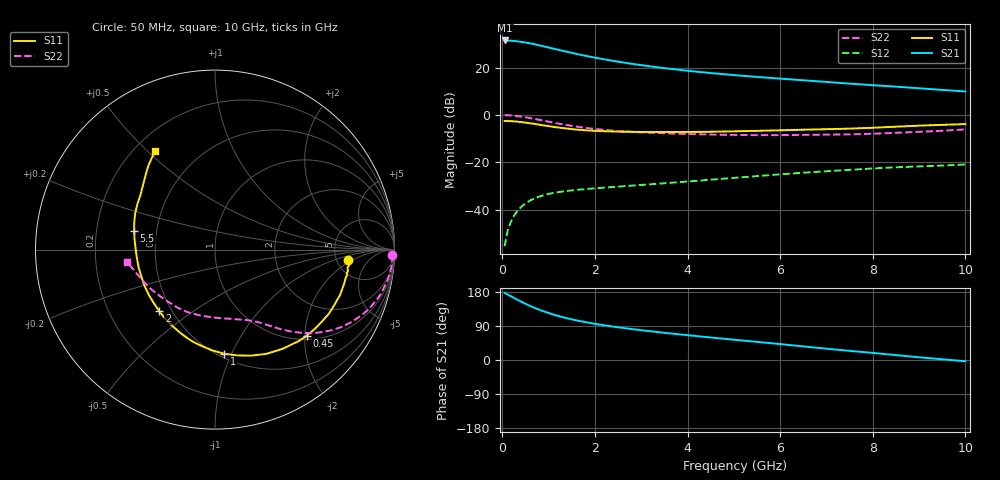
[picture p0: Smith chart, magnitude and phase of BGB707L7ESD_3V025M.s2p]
!  Infineon Technologies AG
!  BGB707L7ESD
!  Vce = 3.0V, Ic = 25.0mA
!  DATUM: 30.06.2009 10:18:42
# GHz  S  MA  R  50
!f  S11  S21  S12  S22
!GHz  Mag  Ang  Mag  Ang  Mag  Ang  Mag  Ang
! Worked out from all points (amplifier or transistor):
!   52 points, 50 MHz to 10 GHz, reference 50 ohm
!   highest |S21| = 31.5 dB at 60 MHz (marker M1)
!   |S21| within 3 dB of that: start of sweep to 1.004 GHz
!   unconditionally stable (mu >= 1): 3.97 GHz to 8.284 GHz
!   at 130 MHz: K = 0.07, MSG = 39.7 dB, |S12| = -48.0 dB
!   at 1.4 GHz: K = 0.47, MSG = 29.4 dB, |S12| = -32.1 dB
!   at 10 GHz: K = 0.91, MSG = 15.5 dB, |S12| = -20.9 dB
!   S11 on the Smith chart (normalised r, x): 50 MHz: 6.35, -1.72; 450 MHz: 1.09, -2.05; 1 GHz: 0.54, -0.94; 2 GHz: 0.43, -0.37; 5.5 GHz: 0.37, +0.10; 10 GHz: 0.28, +0.53
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0.05  0.7444 -4.7  37.03 177.1  0.001687 93.0  0.9868 -1.6
0.06  0.7517 -6.1  37.67 176.4  0.001884 83.1  0.9879 -2.3
0.08  0.745 -7.6  37.14 175.0  0.002466 84.0  0.989 -3.6
0.13  0.7443 -12.9  37.45 171.9  0.003976 82.3  0.9858 -6.3
0.2  0.7413 -19.8  37.15 167.4  0.005927 79.6  0.9765 -10.0
0.35  0.718 -34.0  35.84 157.5  0.01006 73.8  0.9424 -17.4
0.45  0.7009 -43.1  34.77 151.3  0.0124 69.6  0.9129 -21.9
0.6  0.6685 -55.9  32.67 142.6  0.01557 64.2  0.8615 -27.9
0.7  0.6473 -63.9  31.24 137.4  0.01737 61.0  0.8259 -31.5
1  0.5826 -84.8  26.72 124.0  0.02143 54.0  0.7221 -40.0
1.2  0.5449 -96.9  24.02 116.5  0.0233 50.9  0.6619 -44.4
1.4  0.5169 -107.3  21.68 110.2  0.02482 48.8  0.6117 -47.9
1.6  0.4922 -116.8  19.59 104.6  0.0261 47.4  0.5694 -50.8
1.8  0.476 -124.8  17.86 99.8  0.02715 46.7  0.535 -53.3
2  0.4628 -132.1  16.33 95.4  0.0282 46.2  0.5072 -55.6
2.6  0.4437 -149.0  12.93 84.8  0.03111 47.0  0.4515 -61.9
3.5  0.4369 -166.7  9.792 71.7  0.03606 49.5  0.4109 -71.3
4.5  0.4423 179.2  7.711 59.4  0.04286 51.9  0.3866 -82.7
5.5  0.4627 166.8  6.382 47.8  0.05109 52.7  0.3757 -97.1
7  0.5014 149.6  5 29.8  0.06481 50.4  0.3847 -122.5
8.5  0.5661 133.2  3.977 12.9  0.0784 45.3  0.4204 -148.9
10  0.6425 121.4  3.15 -3.3  0.08974 40.1  0.4961 -172.3
